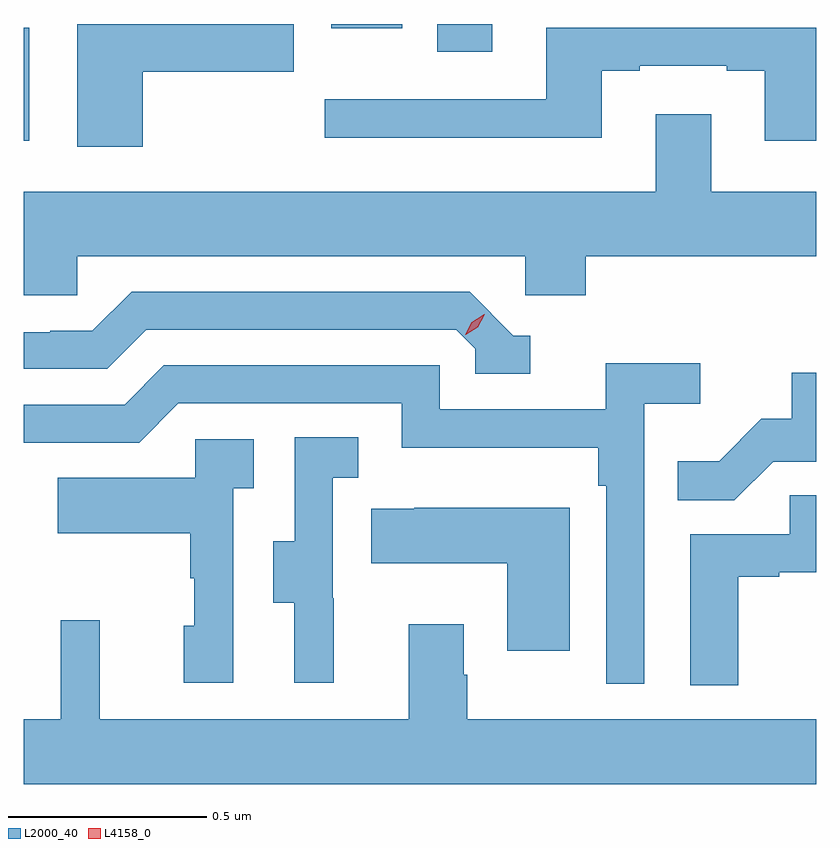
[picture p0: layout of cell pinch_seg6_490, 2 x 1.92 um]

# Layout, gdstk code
import gdstk
lib = gdstk.Library(unit=1e-6, precision=1e-09)
def R(c, l, rs):  # rectangles x0, y0, x1, y1
    for r in rs: c.add(gdstk.rectangle(r[:2], r[2:], *l))
def P(c, l, *ps):  # polygons
    for p in ps: c.add(gdstk.Polygon(p, *l))
L2000_40 = (2000, 40)
L4158_0 = (4158, 0)

pinch_seg6_490 = lib.new_cell('pinch_seg6_490')
R(pinch_seg6_490, L2000_40, [(852.99,927.648,853.003,927.934), (854.033,927.873,854.173,927.943), (853.766,927.932,853.945,927.943)])
P(pinch_seg6_490, L2000_40, [(853.29,927.822),(853.671,927.822),(853.671,927.943),(853.124,927.943),(853.124,927.633),(853.29,927.633)],
  [(854.99,927.934),(854.309,927.934),(854.309,927.753),(853.749,927.753),(853.749,927.656),(854.449,927.656),(854.449,927.825),(854.545,927.825),(854.545,927.837),(854.765,927.837),(854.765,927.825),(854.861,927.825),(854.861,927.648),(854.99,927.648)],
  [(853.125,927.356),(854.256,927.356),(854.256,927.258),(854.408,927.258),(854.408,927.356),(854.99,927.356),(854.99,927.52),(854.725,927.52),(854.725,927.715),(854.585,927.715),(854.585,927.52),(852.99,927.52),(852.99,927.258),(853.125,927.258)],
  [(854.269,927.156),(854.226,927.156),(854.115,927.267),(853.262,927.267),(853.163,927.168),(853.056,927.168),(853.056,927.165),(852.99,927.165),(852.99,927.072),(853.2,927.072),(853.299,927.171),(854.082,927.171),(854.13,927.123),(854.13,927.06),(854.269,927.06)],
  [(854.556,926.984),(854.698,926.984),(854.698,927.086),(854.459,927.086),(854.459,926.97),(854.04,926.97),(854.04,927.081),(853.343,927.081),(853.244,926.982),(852.99,926.982),(852.99,926.886),(853.281,926.886),(853.38,926.985),(853.944,926.985),(853.944,926.873),(854.44,926.873),(854.44,926.777),(854.46,926.777),(854.46,926.277),(854.556,926.277)],
  [(854.882,926.838),(854.99,926.838),(854.99,927.063),(854.929,927.063),(854.929,926.946),(854.852,926.946),(854.745,926.839),(854.641,926.839),(854.641,926.74),(854.784,926.74)],
  [(853.772,926.493),(853.77,926.493),(853.77,926.797),(853.834,926.797),(853.834,926.9),(853.674,926.9),(853.674,926.637),(853.619,926.637),(853.619,926.482),(853.673,926.482),(853.673,926.28),(853.772,926.28)],
  [(853.518,926.771),(853.57,926.771),(853.57,926.895),(853.422,926.895),(853.422,926.797),(853.075,926.797),(853.075,926.657),(853.41,926.657),(853.41,926.543),(853.42,926.543),(853.42,926.424),(853.394,926.424),(853.394,926.28),(853.518,926.28)],
  [(854.794,926.547),(854.897,926.547),(854.897,926.559),(854.99,926.559),(854.99,926.753),(854.923,926.753),(854.923,926.655),(854.672,926.655),(854.672,926.273),(854.794,926.273)],
  [(854.368,926.722),(853.975,926.722),(853.975,926.719),(853.867,926.719),(853.867,926.582),(854.21,926.582),(854.21,926.361),(854.368,926.361)],
  [(854.99,926.188),(854.109,926.188),(854.109,926.3),(854.101,926.3),(854.101,926.428),(853.961,926.428),(853.961,926.188),(853.181,926.188),(853.181,926.437),(853.083,926.437),(853.083,926.188),(852.99,926.188),(852.99,926.024),(854.99,926.024)])
P(pinch_seg6_490, L4158_0, [(854.104,927.158),(854.104,927.158),(854.121,927.19),(854.152,927.21),(854.153,927.21),(854.153,927.21),(854.136,927.177),(854.105,927.158)])

lib.write_gds('pinch_seg6_490.gds')
